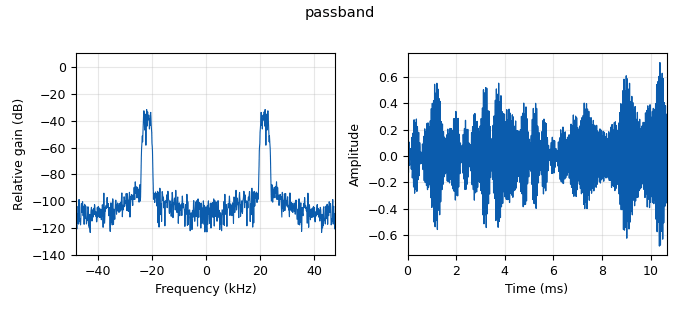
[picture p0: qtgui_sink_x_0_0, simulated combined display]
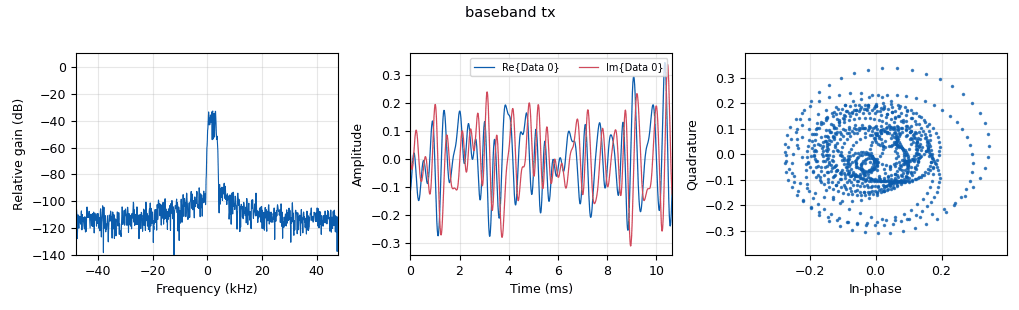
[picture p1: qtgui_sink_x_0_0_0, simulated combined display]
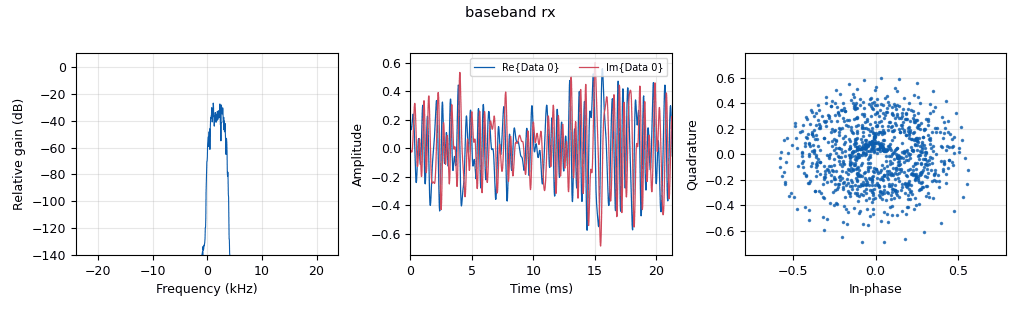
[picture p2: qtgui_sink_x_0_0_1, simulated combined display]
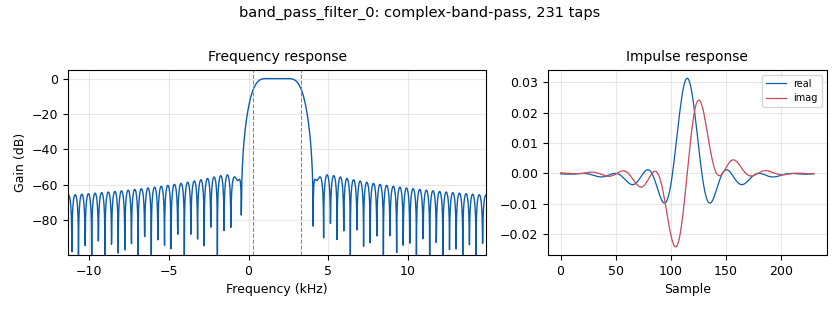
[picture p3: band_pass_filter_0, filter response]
options:
  parameters:
    generate_options: qt_gui
    id: sound_sour
    output_language: python
    title: Not titled yet
  states: {}

blocks:
- name: samp_rate
  id: variable
  parameters:
    value: '96000'
  states: {}
- name: analog_noise_source_x_0
  id: analog_noise_source_x
  parameters:
    amp: '1'
    noise_type: analog.GR_GAUSSIAN
    seed: '0'
    type: float
  states: {}
- name: analog_sig_source_x_0
  id: analog_sig_source_x
  parameters:
    amp: '0.607106781'
    freq: '2320'
    offset: '0'
    phase: '0'
    samp_rate: samp_rate
    type: float
    waveform: analog.GR_COS_WAVE
  states: {state: disabled}
- name: analog_sig_source_x_1
  id: analog_sig_source_x
  parameters:
    amp: math.sqrt(2)
    freq: '20000'
    offset: '0'
    phase: '0'
    samp_rate: samp_rate
    type: complex
    waveform: analog.GR_COS_WAVE
  states: {}
- name: analog_sig_source_x_1_0
  id: analog_sig_source_x
  parameters:
    amp: math.sqrt(2)
    freq: '20000'
    offset: '0'
    phase: '0'
    samp_rate: samp_rate
    type: complex
    waveform: analog.GR_COS_WAVE
  states: {}
- name: audio_sink_0
  id: audio_sink
  parameters:
    device_name: plughw:3,0,1
    samp_rate: samp_rate
  states: {state: disabled}
- name: audio_source_0
  id: audio_source
  parameters:
    device_name: '"plughw:1,0"'
    ok_to_block: 'False'
    samp_rate: samp_rate
  states: {state: disabled}
- name: band_pass_filter_0
  id: band_pass_filter
  parameters:
    decim: '1'
    gain: '1'
    high_cutoff_freq: '3300'
    low_cutoff_freq: '300'
    samp_rate: samp_rate
    type: fir_filter_fcc
    width: '1000'
    win: firdes.WIN_HAMMING
  states: {}
- name: band_pass_filter_0_0
  id: band_pass_filter
  parameters:
    decim: '1'
    gain: '1'
    high_cutoff_freq: '3300'
    low_cutoff_freq: '300'
    samp_rate: samp_rate
    type: fir_filter_ccc
    width: '1000'
    win: firdes.WIN_HAMMING
  states: {}
- name: blocks_add_xx_0
  id: blocks_add_xx
  parameters:
    type: float
  states: {}
- name: blocks_complex_to_float_0
  id: blocks_complex_to_float
  parameters: {}
  states: {}
- name: blocks_conjugate_cc_0
  id: blocks_conjugate_cc
  parameters: {}
  states: {}
- name: blocks_float_to_complex_0
  id: blocks_float_to_complex
  parameters: {}
  states: {}
- name: blocks_multiply_xx_0
  id: blocks_multiply_xx
  parameters:
    type: complex
  states: {}
- name: blocks_multiply_xx_0_0
  id: blocks_multiply_xx
  parameters:
    type: complex
  states: {}
- name: import_0
  id: import
  parameters:
    imports: import math
  states: {}
- name: qtgui_sink_x_0
  id: qtgui_sink_x
  parameters:
    bw: samp_rate
    fc: '0'
    fftsize: '1024'
    type: float
  states: {state: disabled}
- name: qtgui_sink_x_0_0
  id: qtgui_sink_x
  parameters:
    bw: samp_rate
    fc: '0'
    fftsize: '1024'
    name: '"passband"'
    type: float
    wintype: firdes.WIN_BLACKMAN
  states: {}
- name: qtgui_sink_x_0_0_0
  id: qtgui_sink_x
  parameters:
    bw: samp_rate
    fc: '0'
    fftsize: '1024'
    name: '"baseband tx"'
    type: complex
    wintype: firdes.WIN_BLACKMAN
  states: {}
- name: qtgui_sink_x_0_0_1
  id: qtgui_sink_x
  parameters:
    bw: samp_rate/2
    fc: '0'
    fftsize: '1024'
    name: '"baseband rx"'
    type: complex
    wintype: firdes.WIN_BLACKMAN
  states: {}
- name: rational_resampler_xxx_0
  id: rational_resampler_xxx
  parameters:
    decim: '2'
    interp: '1'
    type: ccc
  states: {}

connections:
- [analog_noise_source_x_0, '0', band_pass_filter_0, '0']
- [analog_sig_source_x_0, '0', audio_sink_0, '0']
- [analog_sig_source_x_1, '0', blocks_multiply_xx_0, '1']
- [analog_sig_source_x_1_0, '0', blocks_conjugate_cc_0, '0']
- [audio_source_0, '0', qtgui_sink_x_0, '0']
- [band_pass_filter_0, '0', blocks_multiply_xx_0, '0']
- [band_pass_filter_0, '0', qtgui_sink_x_0_0_0, '0']
- [band_pass_filter_0_0, '0', rational_resampler_xxx_0, '0']
- [blocks_add_xx_0, '0', blocks_float_to_complex_0, '0']
- [blocks_add_xx_0, '0', blocks_float_to_complex_0, '1']
- [blocks_add_xx_0, '0', qtgui_sink_x_0_0, '0']
- [blocks_complex_to_float_0, '0', blocks_add_xx_0, '0']
- [blocks_complex_to_float_0, '1', blocks_add_xx_0, '1']
- [blocks_conjugate_cc_0, '0', blocks_multiply_xx_0_0, '1']
- [blocks_float_to_complex_0, '0', blocks_multiply_xx_0_0, '0']
- [blocks_multiply_xx_0, '0', blocks_complex_to_float_0, '0']
- [blocks_multiply_xx_0_0, '0', band_pass_filter_0_0, '0']
- [rational_resampler_xxx_0, '0', qtgui_sink_x_0_0_1, '0']

metadata:
  file_format: 1
